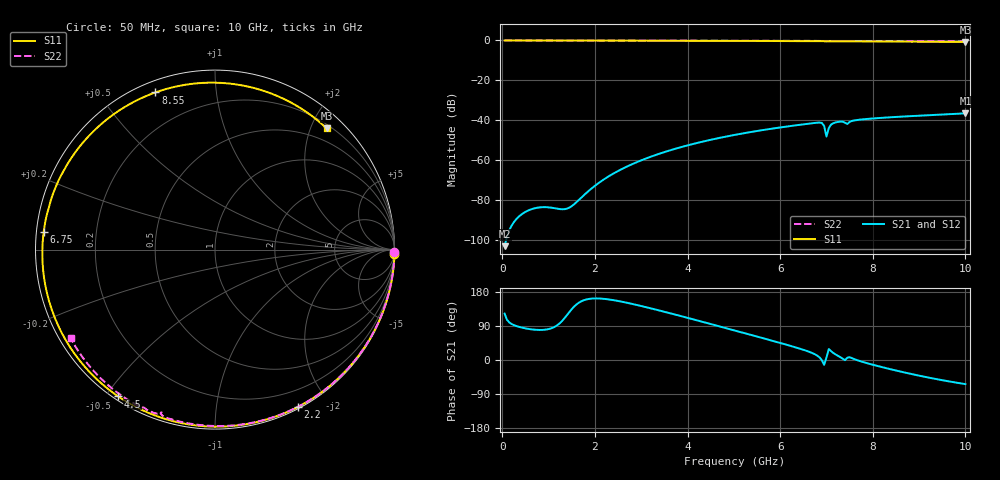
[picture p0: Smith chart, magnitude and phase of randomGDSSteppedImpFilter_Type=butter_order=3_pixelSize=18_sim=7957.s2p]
! freq	dB(S11)	phase(S11)	dB(S12)	phase(S12)
!  dB(S21)	phase(S21)	dB(S22)	phase(S22)
!S-par simulation data
#  GHz  S  DB  R 50
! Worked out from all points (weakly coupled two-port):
!   200 points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, 50 MHz to 10 GHz, reference 50 ohm
!   highest |S21| = -36.56 dB at 10 GHz (marker M1); lowest = -103.2 dB at 50 MHz (marker M2)
!   lowest |S11| = -0.7 dB at 10 GHz (marker M3), VSWR 23.34, Z = 13.1 + j113 ohm
!   |S11| at or under -10 dB: nowhere
!   |S22| runs from -0.5 to 0.0 dB; largest |S21 - S12| = 0
!   S11 on the Smith chart (normalised r, x): 50 MHz: 0, -79; 2.2 GHz: 0.02, -1.65; 4.5 GHz: 0.01, -0.54; 6.75 GHz: 0.02, +0.05; 8.55 GHz: 0.05, +0.69; 10 GHz: 0.26, +2.25
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0.05  -0.00 -1.5  -103.16 122.4  -103.16 122.4  -0.00 -0.9
0.8  -0.02 -23.2  -83.73 79.3  -83.73 79.3  -0.02 -13.6
1.65  -0.06 -47.2  -80.06 151.0  -80.06 151.0  -0.04 -27.9
1.75  -0.06 -50.0  -77.86 157.2  -77.86 157.2  -0.04 -29.5
2.2  -0.08 -62.4  -69.57 161.3  -69.57 161.3  -0.05 -36.9
3.4  -0.12 -94.5  -56.73 130.4  -56.73 130.4  -0.07 -56.1
4.5  -0.18 -123.4  -49.81 95.0  -49.81 95.0  -0.11 -72.9
5.05  -0.21 -137.9  -47.22 76.8  -47.22 76.8  -0.12 -81.0
5.9  -0.28 -161.0  -43.96 48.4  -43.96 48.4  -0.16 -93.2
6.7  -0.35 175.6  -41.49 18.0  -41.49 18.0  -0.21 -104.5
6.75  -0.36 174.1  -41.35 15.1  -41.35 15.1  -0.21 -105.3
6.9  -0.38 169.4  -41.36 -0.4  -41.36 -0.4  -0.26 -107.6
6.95  -0.39 167.8  -42.86 -12.7  -42.86 -12.7  -0.34 -108.4
7  -0.40 166.3  -48.19 6.5  -48.19 6.5  -0.41 -108.2
7.05  -0.40 164.7  -43.94 28.9  -43.94 28.9  -0.32 -108.5
7.1  -0.40 163.1  -42.17 23.3  -42.17 23.3  -0.27 -109.3
7.2  -0.41 159.9  -41.09 14.4  -41.09 14.4  -0.25 -110.9
7.45  -0.44 151.5  -41.86 6.1  -41.86 6.1  -0.31 -114.2
8.35  -0.55 118.7  -38.56 -23.4  -38.56 -23.4  -0.33 -126.4
8.55  -0.57 110.8  -38.29 -29.2  -38.29 -29.2  -0.35 -129.1
9.3  -0.66 79.0  -37.41 -48.7  -37.41 -48.7  -0.42 -139.0
10  -0.74 47.4  -36.56 -63.6  -36.56 -63.6  -0.50 -148.3
